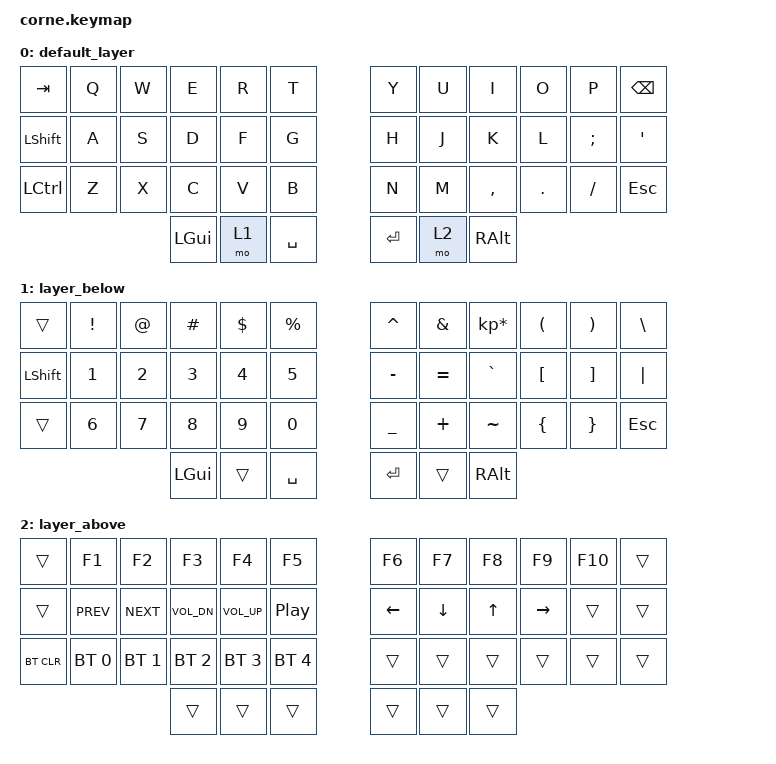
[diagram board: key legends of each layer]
/*
 * Copyright (c) 2020 The ZMK Contributors
 *
 * SPDX-License-Identifier: MIT
 */

#include <behaviors.dtsi>
#include <dt-bindings/zmk/bt.h>
#include <dt-bindings/zmk/keys.h>

/ {
    keymap {
        compatible = "zmk,keymap";

        default_layer {
            // -----------------------------------------------------------------------------------------
            // | TAB  |  Q  |  W  |  E  |  R  |    T    |   |  Y  |  U   |  I  |  O  |  P  | BKSP |
            // | SHFT |  A  |  S  |  D  |  F  |    G    |   |  H  |  J   |  K  |  L  |  ;  | SQT  |
            // | CTRL |  Z  |  X  |  C  |  V  |    B    |   |  N  |  M   |  ,  |  .  |  /  | ESC  |
            //                    | GUI | LWR | SPC |   | ENT | RSE  | ALT |

            bindings = <
&kp TAB    &kp Q  &kp W  &kp E     &kp R  &kp T        &kp Y    &kp U  &kp I      &kp O    &kp P     &kp BSPC
&kp LSHFT  &kp A  &kp S  &kp D     &kp F  &kp G        &kp H    &kp J  &kp K      &kp L    &kp SEMI  &kp SQT
&kp LCTRL  &kp Z  &kp X  &kp C     &kp V  &kp B        &kp N    &kp M  &kp COMMA  &kp DOT  &kp FSLH  &kp ESC
                         &kp LGUI  &mo 1  &kp SPACE    &kp RET  &mo 2  &kp RALT
            >;
        };

        layer_below {
            // -----------------------------------------------------------------------------------------
            // |      |  !  |  @  |  #  |  $  |    %     |   |  ^  |  &  |  *  |  (  |  )  |   \   |
            // | SHFT |  1  |  2  |  3  |  4  |    5     |   |  -  |  =  |  `  |  [  |  ]  |  "|"  |
            // |      |  6  |  7  |  8  |  9  |    0     |   |  _  |  +  |  ~  |  {  |  }  | ESC   |
            //                     | GUI |     | SPC |   | ENT |     | ALT |

            bindings = <
&trans     &kp EXCL  &kp AT  &kp HASH  &kp DLLR  &kp PRCNT    &kp CARET  &kp AMPS   &kp KP_MULTIPLY  &kp LPAR  &kp RPAR  &kp BSLH
&kp LSHFT  &kp N1    &kp N2  &kp N3    &kp N4    &kp N5       &kp MINUS  &kp EQUAL  &kp GRAVE        &kp LBKT  &kp RBKT  &kp PIPE
&trans     &kp N6    &kp N7  &kp N8    &kp N9    &kp N0       &kp UNDER  &kp PLUS   &kp TILDE        &kp LBRC  &kp RBRC  &kp ESC
                             &kp LGUI  &trans    &kp SPACE    &kp RET    &trans     &kp RALT
            >;
        };

        layer_above {
            // -----------------------------------------------------------------------------------------
            // |       |  F1  |  F2  |  F3  |  F4  |  F5 |            |  F6  |  F7  |  F8  |  F9  |  F10  |   |
            // |       | Prev | Next | Vol - | Vol + | Play/Pause |   |      | LFT | DWN |  UP | RGT |     |     |
            // | BTCLR | BT1 | BT2 | BT3 | BT4 | BT5 |   |            |     |     |     |     |     |     |
            //                                | GUI |     | SPC |   | ENT |     | ALT |

            bindings = <
&trans      &kp F1        &kp F2        &kp F3        &kp F4        &kp F5          &kp F6    &kp F7    &kp F8  &kp F9     &kp F10  &trans
&trans      &kp C_PREV    &kp C_NEXT    &kp C_VOL_DN  &kp C_VOL_UP  &kp C_PP        &kp LEFT  &kp DOWN  &kp UP  &kp RIGHT  &trans   &trans
&bt BT_CLR  &bt BT_SEL 0  &bt BT_SEL 1  &bt BT_SEL 2  &bt BT_SEL 3  &bt BT_SEL 4    &trans    &trans    &trans  &trans     &trans   &trans
                                        &trans        &trans        &trans          &trans    &trans    &trans
            >;
        };
    };
};
